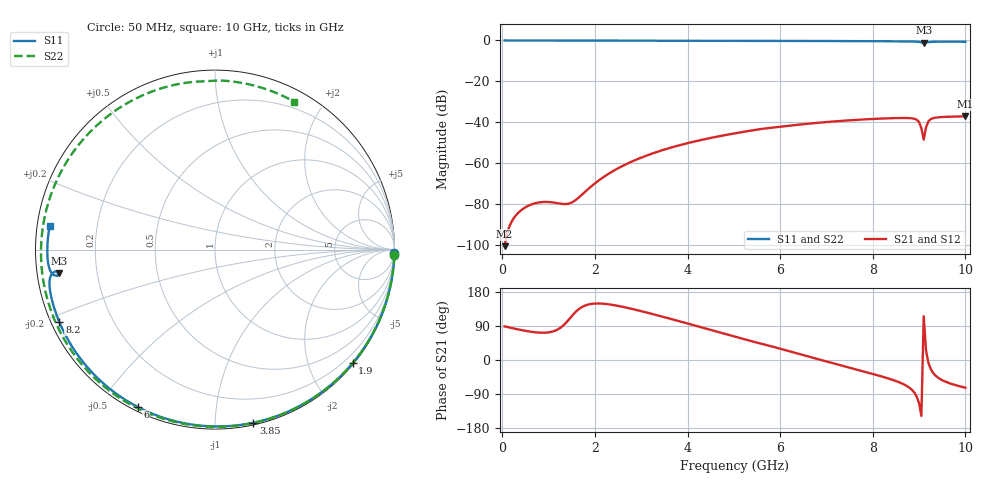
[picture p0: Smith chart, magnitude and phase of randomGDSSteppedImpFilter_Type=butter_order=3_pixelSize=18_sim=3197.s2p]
! freq	dB(S11)	phase(S11)	dB(S12)	phase(S12)
!  dB(S21)	phase(S21)	dB(S22)	phase(S22)
!S-par simulation data
#  GHz  S  DB  R 50
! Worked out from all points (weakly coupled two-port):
!   200 points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, 50 MHz to 10 GHz, reference 50 ohm
!   highest |S21| = -37.07 dB at 10 GHz (marker M1); lowest = -100.4 dB at 50 MHz (marker M2)
!   lowest |S11| = -1.1 dB at 9.1 GHz (marker M3), VSWR 15.49, Z = 3.25 - j3.69 ohm
!   |S11| at or under -10 dB: nowhere
!   |S22| runs from -0.6 to 0.0 dB; largest |S21 - S12| = 0
!   S11 on the Smith chart (normalised r, x): 50 MHz: open; 1.9 GHz: 0.03, -2.79; 3.85 GHz: 0.02, -1.25; 6 GHz: 0.02, -0.62; 8.2 GHz: 0.02, -0.22; 10 GHz: 0.04, +0.07
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0.05  -0.00 -1.1  -100.43 88.7  -100.43 88.7  -0.00 -1.8
0.7  -0.02 -14.7  -79.54 73.3  -79.54 73.3  -0.03 -25.1
1.4  -0.04 -29.3  -79.82 101.5  -79.82 101.5  -0.06 -49.4
1.75  -0.05 -36.4  -74.66 141.6  -74.66 141.6  -0.08 -61.1
1.9  -0.05 -39.5  -71.64 147.5  -71.64 147.5  -0.08 -66.0
2.55  -0.07 -52.5  -61.80 141.6  -61.80 141.6  -0.11 -86.5
3.4  -0.09 -69.0  -53.98 116.2  -53.98 116.2  -0.13 -111.4
3.85  -0.11 -77.5  -51.01 101.4  -51.01 101.4  -0.15 -123.9
5.05  -0.15 -99.4  -45.23 60.8  -45.23 60.8  -0.21 -155.7
6  -0.20 -116.2  -42.12 29.7  -42.12 29.7  -0.27 179.8
6.7  -0.25 -128.4  -40.44 6.2  -40.44 6.2  -0.32 161.5
7.45  -0.31 -141.5  -39.06 -18.5  -39.06 -18.5  -0.38 141.1
8.2  -0.38 -154.9  -38.12 -43.6  -38.12 -43.6  -0.44 119.5
8.35  -0.40 -157.7  -37.99 -49.2  -37.99 -49.2  -0.45 115.0
8.95  -0.59 -170.1  -38.72 -96.9  -38.72 -96.9  -0.52 96.5
9  -0.71 -171.4  -39.82 -114.0  -39.82 -114.0  -0.53 94.9
9.05  -0.92 -172.2  -42.88 -147.6  -42.88 -147.6  -0.54 93.4
9.1  -1.12 -171.5  -48.40 115.4  -48.40 115.4  -0.54 91.9
9.15  -1.01 -170.5  -42.42 25.1  -42.42 25.1  -0.52 90.3
9.2  -0.82 -171.0  -39.52 -6.9  -39.52 -6.9  -0.52 88.7
9.25  -0.71 -172.1  -38.44 -23.5  -38.44 -23.5  -0.52 87.0
10  -0.62 171.9  -37.07 -73.2  -37.07 -73.2  -0.58 61.9
